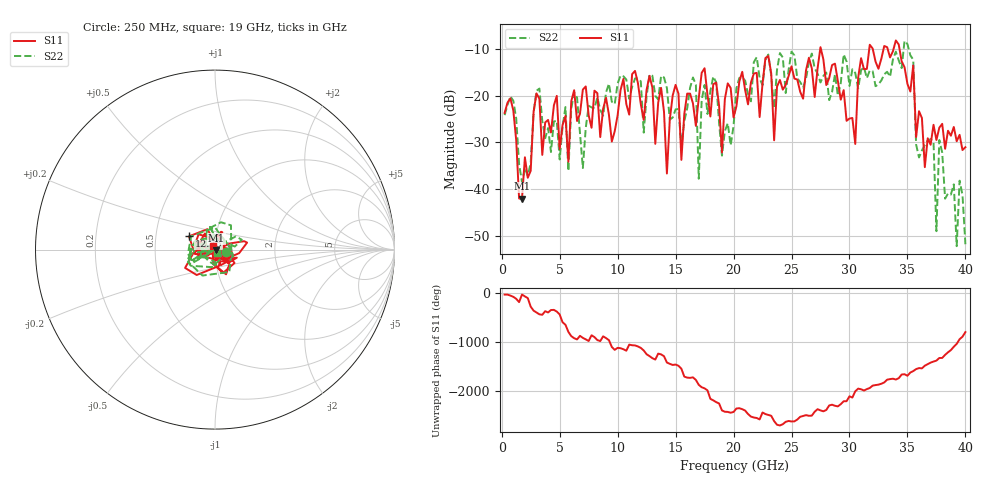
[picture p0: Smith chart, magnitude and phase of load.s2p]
# GHz S RI R 50
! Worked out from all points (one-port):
!   160 points, 250 MHz to 40 GHz, reference 50 ohm
!   lowest |S11| = -42.0 dB at 1.75 GHz (marker M1), VSWR 1.02, Z = 50.7 - j0.325 ohm
!   |S11| at or under -10 dB: start of sweep to 27.48 GHz; 27.53 GHz to 31.71 GHz (4.18 GHz wide, 14.1 % of centre); 34.31 GHz to end of sweep (the widest 3 of 5)
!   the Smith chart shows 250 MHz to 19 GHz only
!   S11 on the Smith chart (normalised r, x): 250 MHz: 1.12, -0.06; 12.75 GHz: 0.74, +0.11; 19 GHz: 0.98, +0.04
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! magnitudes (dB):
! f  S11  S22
! 250 MHz  -23.7  -24.2
! 1.75 GHz  -42.0  -38.5
! 3.25 GHz  -20.7  -18.5
! 7 GHz  -18.7  -35.4
! 12.75 GHz  -15.8  -15.5
! 13.5 GHz  -21.5  -20.8
! 14.25 GHz  -36.6  -18.4
! 16.5 GHz  -21.7  -16.1
! 17 GHz  -20.5  -37.7
! 18.25 GHz  -17.6  -16.0
! 19 GHz  -32.1  -32.8
! 20.25 GHz  -22.3  -18.4
! 26.75 GHz  -14.2  -11.1
! 30.5 GHz  -30.3  -15.2
! 31 GHz  -12.0  -14.6
! 33.5 GHz  -11.9  -16.0
! 35 GHz  -17.5  -9.0
! 36 GHz  -23.3  -33.2
! 37.25 GHz  -26.2  -29.8
! 37.5 GHz  -29.5  -48.9
! 37.75 GHz  -26.8  -29.5
! 40 GHz  -31.0  -51.7
